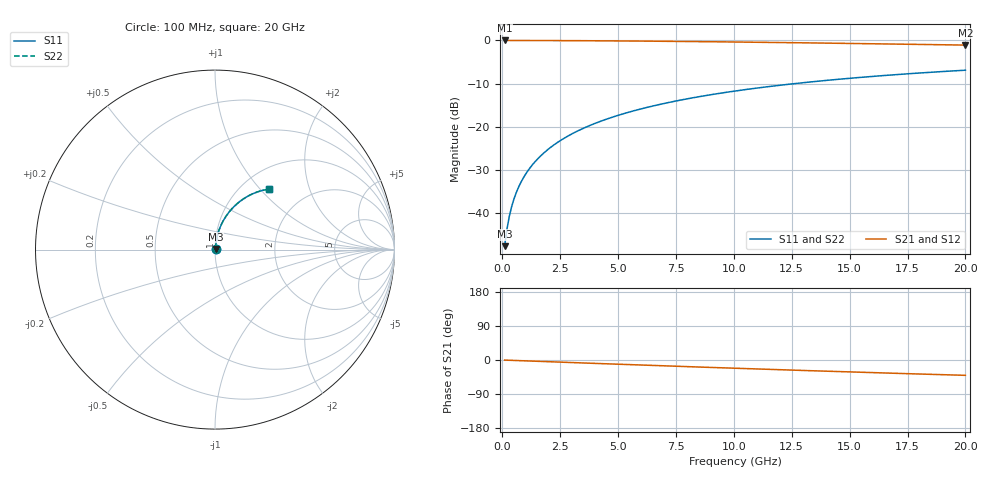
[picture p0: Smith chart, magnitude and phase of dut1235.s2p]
! Touchstone file exported from HFSS 2026.1.0
!  File:  C:/ffzhzh/LocalFiles/Ansys_Project_Files/temp_train_TMRDL_1235_1783163544_55132.aedt
!  Generated:  07:13:38 PM Jul  4, 2026
!  Design:  TMRDL
!  Project:  temp_train_TMRDL_1235_1783163544_55132
! Variables:
!  h_bsmrdl = 2um
!  h_ox = 20um
!  h_rdl = 5um
!  h_sub = 80um
!  h_tmrdl = 4.25um
!  h_tsv = 80um
!  h_via = 3um
!  l_bsmrdl = 300um
!  l_sub = 924.25um
!  l_tmrdl = 524.25um
!  m_sub = 200um
!  pitch = 54.04um
!  r_tsv = 6um
!  s_tmrdl = 10um
!  w_bsmrdl = 18um
!  w_sub = 500um
!  w_tmrdl = 14.92um
!  x_tsv_center1 = 531.71um
!  x_tsv_center2 = 849.71um
!  x_tsv_center3 = 1388.88um
!  x_tsv_center4 = 1706.88um
!  x_tsv_center5 = 2246.05um
!  x_tsv_center6 = 2564.05um
# GHz S MA R 50.000000
! Terminal data exported
! Port[1] = TM_RDL1_1_T1
! Port[2] = TM_RDL1_1_T2
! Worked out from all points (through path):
!   200 points, 100 MHz to 20 GHz, reference 50 ohm
!   highest |S21| = -0.03 dB at 100 MHz (marker M1); lowest = -1.1 dB at 20 GHz (marker M2)
!   group delay of S21, straight-line fit = 5.63 ps
!   lowest |S11| = -47.5 dB at 100 MHz (marker M3), VSWR 1.01, Z = 50.3 + j0.291 ohm
!   |S11| at or under -10 dB: start of sweep to 12.62 GHz
!   |S22| runs from -47.5 to -6.9 dB; largest |S21 - S12| = 2e-15
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0.1  0.004194 43.6  0.997 -0.2  0.997 -0.2  0.004194 43.6
! Gamma 0 0 0 0
! Port Impedance 50 0 50 0
0.2  0.006559 61.4  0.9969 -0.5  0.9969 -0.5  0.00656 61.4
0.3  0.009193 69.1  0.9968 -0.7  0.9968 -0.7  0.009194 69.1
0.4  0.01189 73.1  0.9967 -0.9  0.9967 -0.9  0.01189 73.1
0.5  0.01461 75.6  0.9966 -1.1  0.9966 -1.1  0.01461 75.6
0.6  0.01733 77.3  0.9965 -1.4  0.9965 -1.4  0.01733 77.3
0.8  0.02279 79.3  0.9963 -1.8  0.9963 -1.8  0.02279 79.3
1.1  0.03101 80.7  0.9959 -2.5  0.9959 -2.5  0.03101 80.7
1.5  0.04198 81.4  0.9954 -3.4  0.9954 -3.4  0.04198 81.4
1.8  0.05021 81.5  0.9949 -4.1  0.9949 -4.1  0.05021 81.4
2.1  0.05842 81.3  0.9943 -4.7  0.9943 -4.7  0.05842 81.3
2.7  0.07478 80.6  0.9929 -6.1  0.9929 -6.1  0.07478 80.6
3.5  0.09637 79.3  0.9906 -7.8  0.9906 -7.8  0.09637 79.3
4.2  0.115 78.0  0.9882 -9.4  0.9882 -9.4  0.115 78.0
5  0.136 76.5  0.985 -11.1  0.985 -11.1  0.136 76.4
5.9  0.1592 74.7  0.9809 -13.1  0.9809 -13.1  0.1592 74.6
6.8  0.182 72.8  0.9765 -15.0  0.9765 -15.0  0.182 72.8
8.3  0.2187 69.8  0.9681 -18.2  0.9681 -18.2  0.2187 69.8
10.1  0.2609 66.3  0.9569 -21.9  0.9569 -21.9  0.2609 66.3
13.4  0.3325 60.0  0.9335 -28.4  0.9335 -28.4  0.3325 59.9
16.7  0.3963 53.9  0.9078 -34.6  0.9078 -34.6  0.3963 53.9
20  0.4521 48.2  0.8813 -40.5  0.8813 -40.5  0.4521 48.2
